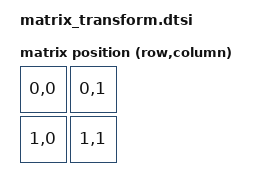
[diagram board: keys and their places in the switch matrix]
    default_transform: default_transform {
        // See https://zmk.dev/docs/development/new-shield#optional-matrix-transform
        // for how to configure this
        compatible = "zmk,matrix-transform";
        columns = <2>;
        rows = <2>;

        map = <
            RC(0, 0) RC(0, 1)
            RC(1, 0) RC(1, 1)
        >;
    };
